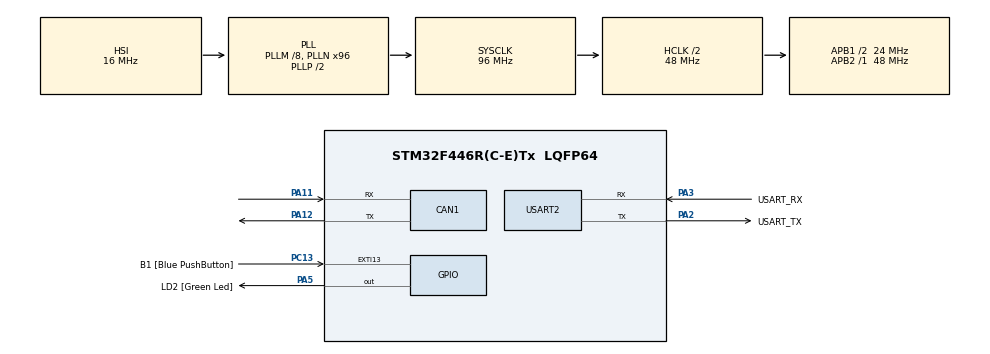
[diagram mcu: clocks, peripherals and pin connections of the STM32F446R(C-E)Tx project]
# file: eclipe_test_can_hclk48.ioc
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CAN1.BS1=CAN_BS1_6TQ
CAN1.BS2=CAN_BS2_5TQ
CAN1.CalculateTimeQuantum=666.6666666666666
Mcu.Family=STM32F4
Mcu.Name=STM32F446R(C-E)Tx
Mcu.Package=LQFP64
NVIC.PriorityGroup=NVIC_PRIORITYGROUP_0
PA11.Mode=Master
PA11.Signal=CAN1_RX
PA12.Mode=Master
PA12.Signal=CAN1_TX
PA13.GPIO_Label=TMS
PA13.Mode=Serial_Wire
PA13.Signal=SYS_JTMS-SWDIO
PA14.GPIO_Label=TCK
PA14.Mode=Serial_Wire
PA14.Signal=SYS_JTCK-SWCLK
PA2.GPIO_Label=USART_TX
PA2.Mode=Asynchronous
PA2.Signal=USART2_TX
PA3.GPIO_Label=USART_RX
PA3.Mode=Asynchronous
PA3.Signal=USART2_RX
PA5.GPIO_Label=LD2 [Green Led]
PA5.Signal=GPIO_Output
PB3.GPIO_Label=SWO
PB3.Signal=SYS_JTDO-SWO
PC13.GPIO_Label=B1 [Blue PushButton]
PC13.GPIO_ModeDefaultEXTI=GPIO_MODE_IT_FALLING
PC13.Signal=GPXTI13
PC14-OSC32_IN.Mode=LSE-External-Oscillator
PC14-OSC32_IN.Signal=RCC_OSC32_IN
PC15-OSC32_OUT.Mode=LSE-External-Oscillator
PC15-OSC32_OUT.Signal=RCC_OSC32_OUT
PH0-OSC_IN.Mode=HSE-External-Oscillator
PH0-OSC_IN.Signal=RCC_OSC_IN
PH1-OSC_OUT.Mode=HSE-External-Oscillator
PH1-OSC_OUT.Signal=RCC_OSC_OUT
ProjectManager.HeapSize=0x200
ProjectManager.StackSize=0x400
ProjectManager.TargetToolchain=SW4STM32
RCC.48MHZClocksFreq_Value=84000000
RCC.AHBCLKDivider=RCC_SYSCLK_DIV2
RCC.AHBFreq_Value=48000000
RCC.APB1CLKDivider=RCC_HCLK_DIV2
RCC.APB1Freq_Value=24000000
RCC.APB1TimFreq_Value=48000000
RCC.APB2Freq_Value=48000000
RCC.APB2TimFreq_Value=48000000
RCC.CortexFreq_Value=48000000
RCC.FLatency-AdvancedSettings=FLASH_LATENCY_1
RCC.HCLKFreq_Value=48000000
RCC.HSE_VALUE=8000000
RCC.HSI_VALUE=16000000
RCC.PLLM=8
RCC.PLLN=96
RCC.SYSCLKFreq_VALUE=96000000
RCC.SYSCLKSource=RCC_SYSCLKSOURCE_PLLCLK
RCC.USBFreq_Value=96000000
RCC.VCOOutputFreq_Value=192000000
USART2.VirtualMode=VM_ASYNC
board=NUCLEO-F446RE

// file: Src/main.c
/**
  ******************************************************************************
  * @file           : main.c
  * @brief          : Main program body
  ******************************************************************************
  ** This notice applies to any and all portions of this file
  * that are not between comment pairs USER CODE BEGIN and
  * USER CODE END. Other portions of this file, whether
  * inserted by the user or by software development tools
  * are owned by their respective copyright owners.
  *
  * COPYRIGHT(c) 2018 STMicroelectronics
  *
  * Redistribution and use in source and binary forms, with or without modification,
  * are permitted provided that the following conditions are met:
  *   1. Redistributions of source code must retain the above copyright notice,
  *      this list of conditions and the following disclaimer.
  *   2. Redistributions in binary form must reproduce the above copyright notice,
  *      this list of conditions and the following disclaimer in the documentation
  *      and/or other materials provided with the distribution.
  *   3. Neither the name of STMicroelectronics nor the names of its contributors
  *      may be used to endorse or promote products derived from this software
  *      without specific prior written permission.
  *
  * THIS SOFTWARE IS PROVIDED BY THE COPYRIGHT HOLDERS AND CONTRIBUTORS "AS IS"
  * AND ANY EXPRESS OR IMPLIED WARRANTIES, INCLUDING, BUT NOT LIMITED TO, THE
  * IMPLIED WARRANTIES OF MERCHANTABILITY AND FITNESS FOR A PARTICULAR PURPOSE ARE
  * DISCLAIMED. IN NO EVENT SHALL THE COPYRIGHT HOLDER OR CONTRIBUTORS BE LIABLE
  * FOR ANY DIRECT, INDIRECT, INCIDENTAL, SPECIAL, EXEMPLARY, OR CONSEQUENTIAL
  * DAMAGES (INCLUDING, BUT NOT LIMITED TO, PROCUREMENT OF SUBSTITUTE GOODS OR
  * SERVICES; LOSS OF USE, DATA, OR PROFITS; OR BUSINESS INTERRUPTION) HOWEVER
  * CAUSED AND ON ANY THEORY OF LIABILITY, WHETHER IN CONTRACT, STRICT LIABILITY,
  * OR TORT (INCLUDING NEGLIGENCE OR OTHERWISE) ARISING IN ANY WAY OUT OF THE USE
  * OF THIS SOFTWARE, EVEN IF ADVISED OF THE POSSIBILITY OF SUCH DAMAGE.
  *
  ******************************************************************************
  */
#include "main.h"
#include "stm32f4xx_hal.h"

CAN_HandleTypeDef hcan1;

UART_HandleTypeDef huart2;

/* USER CODE BEGIN PV */
/* Private variables ---------------------------------------------------------*/
CAN_TxHeaderTypeDef   TxHeader;
CAN_RxHeaderTypeDef   RxHeader;
uint8_t               TxData[8];
uint8_t               RxData[8];
uint32_t              TxMailbox;

/* USER CODE END PV */

void SystemClock_Config(void);
static void MX_GPIO_Init(void);
static void MX_USART2_UART_Init(void);
static void MX_CAN1_Init(void);

/* USER CODE BEGIN PFP */
/* Private function prototypes -----------------------------------------------*/

/* USER CODE END PFP */
void CAN_Config(void);
void HAL_CAN_RxFifo0MsgPendingCallback(CAN_HandleTypeDef *hcan);
uint8_t CAN_Transmit(uint32_t addr, uint32_t data_size, uint8_t * tab_data);

/* USER CODE BEGIN 0 */

void CAN_Config(void){
	CAN_FilterTypeDef  sFilterConfig;

	  sFilterConfig.FilterBank = 0;
	  sFilterConfig.FilterMode = CAN_FILTERMODE_IDMASK;
	  sFilterConfig.FilterScale = CAN_FILTERSCALE_32BIT;
	  sFilterConfig.FilterIdHigh = 0x320 << 5;
	  sFilterConfig.FilterIdLow = 0;
	  sFilterConfig.FilterMaskIdHigh = 0xFFF << 5;
	  sFilterConfig.FilterMaskIdLow = 0;
	  sFilterConfig.FilterFIFOAssignment = CAN_RX_FIFO0;
	  sFilterConfig.FilterActivation = ENABLE;
	  sFilterConfig.SlaveStartFilterBank = 14;

	  HAL_CAN_ConfigFilter(&hcan1, &sFilterConfig);
	  HAL_CAN_Start(&hcan1);
	  HAL_CAN_ActivateNotification(&hcan1, CAN_IT_RX_FIFO0_MSG_PENDING);

	  TxHeader.StdId = 0x321;
	  TxHeader.ExtId = 0x01;
	  TxHeader.RTR = CAN_RTR_DATA;
	  TxHeader.IDE = CAN_ID_STD;
	  TxHeader.DLC = 2;
	  TxHeader.TransmitGlobalTime = DISABLE;
	  TxData[0] = 1;
	  TxData[1]  =2;

}

void HAL_CAN_RxFifo0MsgPendingCallback(CAN_HandleTypeDef *hcan)
{
  HAL_CAN_GetRxMessage(hcan, CAN_RX_FIFO0, &RxHeader, RxData);
}

uint8_t CAN_Transmit(uint32_t addr, uint32_t data_size, uint8_t * tab_data)
{
    if(data_size > 8 || sizeof(tab_data) / sizeof(tab_data[0]) <= data_size)
	return 0;

    TxHeader.StdId = addr;
    TxHeader.DLC = data_size;

    for(int i = 0; i < data_size; i++)
    {
	TxData[i] = tab_data[i];
    }

    HAL_CAN_AddTxMessage(&hcan1, &TxHeader, TxData, &TxMailbox);

    return 1;
}

/* USER CODE END 0 */

int main(void)
{

  /* MCU Configuration----------------------------------------------------------*/

  /* Reset of all peripherals, Initializes the Flash interface and the Systick. */
  HAL_Init();

  /* Configure the system clock */
  SystemClock_Config();

  /* Initialize all configured peripherals */
  MX_GPIO_Init();
  MX_USART2_UART_Init();
  MX_CAN1_Init();
  /* USER CODE BEGIN 2 */
  CAN_Config();
  /* USER CODE END 2 */

  /* Infinite loop */
  while (1)
  {

  }

}

void SystemClock_Config(void)
{

  RCC_OscInitTypeDef RCC_OscInitStruct;
  RCC_ClkInitTypeDef RCC_ClkInitStruct;

    /**Configure the main internal regulator output voltage
    */
  __HAL_RCC_PWR_CLK_ENABLE();

  __HAL_PWR_VOLTAGESCALING_CONFIG(PWR_REGULATOR_VOLTAGE_SCALE3);

    /**Initializes the CPU, AHB and APB busses clocks
    */
  RCC_OscInitStruct.OscillatorType = RCC_OSCILLATORTYPE_HSI;
  RCC_OscInitStruct.HSIState = RCC_HSI_ON;
  RCC_OscInitStruct.HSICalibrationValue = 16;
  RCC_OscInitStruct.PLL.PLLState = RCC_PLL_ON;
  RCC_OscInitStruct.PLL.PLLSource = RCC_PLLSOURCE_HSI;
  RCC_OscInitStruct.PLL.PLLM = 8;
  RCC_OscInitStruct.PLL.PLLN = 96;
  RCC_OscInitStruct.PLL.PLLP = RCC_PLLP_DIV2;
  RCC_OscInitStruct.PLL.PLLQ = 2;
  RCC_OscInitStruct.PLL.PLLR = 2;
  if (HAL_RCC_OscConfig(&RCC_OscInitStruct) != HAL_OK)
  {
    _Error_Handler(__FILE__, __LINE__);
  }

    /**Initializes the CPU, AHB and APB busses clocks
    */
  RCC_ClkInitStruct.ClockType = RCC_CLOCKTYPE_HCLK|RCC_CLOCKTYPE_SYSCLK
                              |RCC_CLOCKTYPE_PCLK1|RCC_CLOCKTYPE_PCLK2;
  RCC_ClkInitStruct.SYSCLKSource = RCC_SYSCLKSOURCE_PLLCLK;
  RCC_ClkInitStruct.AHBCLKDivider = RCC_SYSCLK_DIV2;
  RCC_ClkInitStruct.APB1CLKDivider = RCC_HCLK_DIV2;
  RCC_ClkInitStruct.APB2CLKDivider = RCC_HCLK_DIV1;

  if (HAL_RCC_ClockConfig(&RCC_ClkInitStruct, FLASH_LATENCY_1) != HAL_OK)
  {
    _Error_Handler(__FILE__, __LINE__);
  }

    /**Configure the Systick interrupt time
    */
  HAL_SYSTICK_Config(HAL_RCC_GetHCLKFreq()/1000);

    /**Configure the Systick
    */
  HAL_SYSTICK_CLKSourceConfig(SYSTICK_CLKSOURCE_HCLK);

  /* SysTick_IRQn interrupt configuration */
  HAL_NVIC_SetPriority(SysTick_IRQn, 0, 0);
}

/* CAN1 init function */
static void MX_CAN1_Init(void)
{

  hcan1.Instance = CAN1;
  hcan1.Init.Prescaler = 16;
  hcan1.Init.Mode = CAN_MODE_NORMAL;
  hcan1.Init.SyncJumpWidth = CAN_SJW_1TQ;
  hcan1.Init.TimeSeg1 = CAN_BS1_6TQ;
  hcan1.Init.TimeSeg2 = CAN_BS2_5TQ;
  hcan1.Init.TimeTriggeredMode = DISABLE;
  hcan1.Init.AutoBusOff = DISABLE;
  hcan1.Init.AutoWakeUp = DISABLE;
  hcan1.Init.AutoRetransmission = DISABLE;
  hcan1.Init.ReceiveFifoLocked = DISABLE;
  hcan1.Init.TransmitFifoPriority = DISABLE;
  if (HAL_CAN_Init(&hcan1) != HAL_OK)
  {
    _Error_Handler(__FILE__, __LINE__);
  }

}

/* USART2 init function */
static void MX_USART2_UART_Init(void)
{

  huart2.Instance = USART2;
  huart2.Init.BaudRate = 115200;
  huart2.Init.WordLength = UART_WORDLENGTH_8B;
  huart2.Init.StopBits = UART_STOPBITS_1;
  huart2.Init.Parity = UART_PARITY_NONE;
  huart2.Init.Mode = UART_MODE_TX_RX;
  huart2.Init.HwFlowCtl = UART_HWCONTROL_NONE;
  huart2.Init.OverSampling = UART_OVERSAMPLING_16;
  if (HAL_UART_Init(&huart2) != HAL_OK)
  {
    _Error_Handler(__FILE__, __LINE__);
  }

}

/** Configure pins as
        * Analog
        * Input
        * Output
        * EVENT_OUT
        * EXTI
*/
static void MX_GPIO_Init(void)
{

  GPIO_InitTypeDef GPIO_InitStruct;

  /* GPIO Ports Clock Enable */
  __HAL_RCC_GPIOC_CLK_ENABLE();
  __HAL_RCC_GPIOH_CLK_ENABLE();
  __HAL_RCC_GPIOA_CLK_ENABLE();
  __HAL_RCC_GPIOB_CLK_ENABLE();

  /*Configure GPIO pin Output Level */
  HAL_GPIO_WritePin(LD2_GPIO_Port, LD2_Pin, GPIO_PIN_RESET);

  /*Configure GPIO pin : B1_Pin */
  GPIO_InitStruct.Pin = B1_Pin;
  GPIO_InitStruct.Mode = GPIO_MODE_IT_FALLING;
  GPIO_InitStruct.Pull = GPIO_NOPULL;
  HAL_GPIO_Init(B1_GPIO_Port, &GPIO_InitStruct);

  /*Configure GPIO pin : LD2_Pin */
  GPIO_InitStruct.Pin = LD2_Pin;
  GPIO_InitStruct.Mode = GPIO_MODE_OUTPUT_PP;
  GPIO_InitStruct.Pull = GPIO_NOPULL;
  GPIO_InitStruct.Speed = GPIO_SPEED_FREQ_LOW;
  HAL_GPIO_Init(LD2_GPIO_Port, &GPIO_InitStruct);

}

void _Error_Handler(char *file, int line)
{
  while(1)
  {
  }
}

/************************ (C) COPYRIGHT STMicroelectronics *****END OF FILE****/
